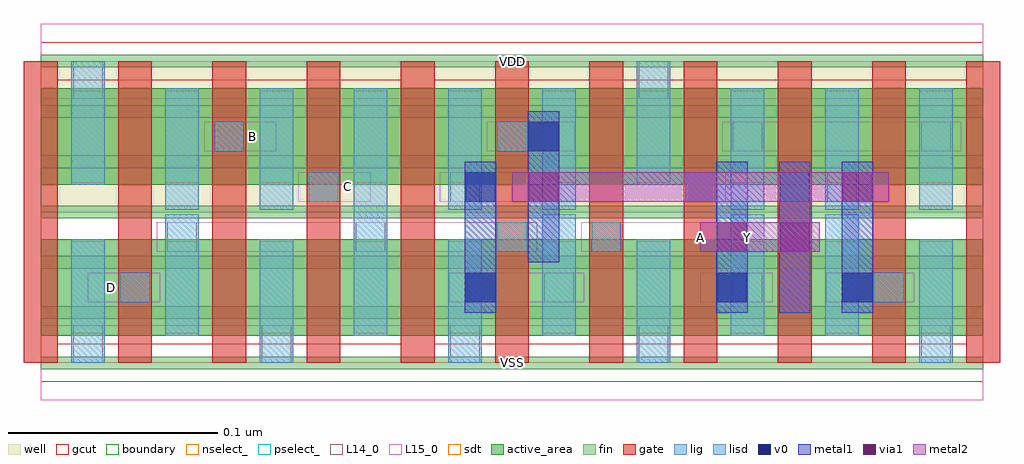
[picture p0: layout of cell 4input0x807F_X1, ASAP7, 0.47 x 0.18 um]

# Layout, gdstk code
import gdstk
lib = gdstk.Library(unit=1e-6, precision=2.5e-10)
def R(c, l, rs):  # rectangles x0, y0, x1, y1
    for r in rs: c.add(gdstk.rectangle(r[:2], r[2:], *l))
def A(c, l, x, y, w, h, nx, ny, dx, dy):  # array of equal rectangles
    R(c, l, [(x+i*dx, y+j*dy, x+i*dx+w, y+j*dy+h) for i in range(nx) for j in range(ny)])
def P(c, l, *ps):  # polygons
    for p in ps: c.add(gdstk.Polygon(p, *l))
well = (1, 0)
fin = (2, 0)
gate = (7, 0)
gcut = (10, 0)
active_area = (11, 0)
nselect_ = (12, 0)
pselect_ = (13, 0)
L14_0 = (14, 0)
L15_0 = (15, 0)
lig = (16, 0)
lisd = (17, 0)
v0 = (18, 0)
metal1 = (19, 0)
metal2 = (20, 0)
via1 = (21, 0)
sdt = (88, 0)
boundary = (100, 0)

c_4input0x807f_x1 = lib.new_cell('4input0x807F_X1')
R(c_4input0x807f_x1, well, [(0,0.072,0.45,0.144)])
A(c_4input0x807f_x1, fin, 0, -0.003, 0.45, 0.006, 1, 7, 0, 0.024)
A(c_4input0x807f_x1, gate, -0.008, 0, 0.016, 0.144, 11, 1, 0.045, 0)
P(c_4input0x807f_x1, gcut, [(0,-0.009),(0,0),(-0.008,0),(-0.008,0.135),(0.008,0.135),(0.008,0.009),(0.172,0.009),(0.172,0.135),(0.188,0.135),(0.188,0.009),(0.442,0.009),(0.442,0.135),(-0.008,0.135),(-0.008,0.144),(0,0.144),(0,0.153),(0.45,0.153),(0.45,0.144),(0.458,0.144),(0.458,0),(0.45,0),(0.45,-0.009)])
R(c_4input0x807f_x1, active_area, [(0,0.013,0.45,0.059), (0,0.085,0.45,0.131)])
R(c_4input0x807f_x1, nselect_, [(0,0,0.45,0.072)])
R(c_4input0x807f_x1, pselect_, [(0,0.072,0.45,0.144)])
A(c_4input0x807f_x1, L14_0, 0.0155, 0, 0.014, 0.018, 4, 1, 0.09, 0)
R(c_4input0x807f_x1, L14_0, [(0.4205,0,0.4345,0.018), (0.038,0.029,0.052,0.043), (0.2405,0.029,0.2545,0.043), (0.3305,0.029,0.3445,0.043), (0.398,0.029,0.412,0.043), (0.0605,0.053,0.0745,0.067), (0.1505,0.053,0.1645,0.067), (0.218,0.053,0.232,0.067), (0.263,0.053,0.277,0.067), (0.353,0.053,0.367,0.067), (0.128,0.077,0.142,0.091), (0.1955,0.077,0.2095,0.091), (0.308,0.077,0.322,0.091), (0.3755,0.077,0.3895,0.091), (0.083,0.101,0.097,0.115), (0.218,0.101,0.232,0.115), (0.3305,0.101,0.3445,0.115), (0.4205,0.101,0.4345,0.115), (0.0155,0.126,0.0295,0.144), (0.2855,0.126,0.2995,0.144)])
R(c_4input0x807f_x1, L15_0, [(0,-0.018,0.45,0.018), (0.0225,0.029,0.057,0.043), (0.195,0.029,0.2595,0.043), (0.315,0.029,0.3495,0.043), (0.375,0.029,0.417,0.043), (0.0555,0.053,0.237,0.067), (0.258,0.053,0.372,0.067), (0.123,0.077,0.1575,0.091), (0.1905,0.077,0.327,0.091), (0.345,0.077,0.3945,0.091), (0.078,0.101,0.1125,0.115), (0.213,0.101,0.255,0.115), (0.3255,0.101,0.4395,0.115), (0,0.126,0.45,0.162)])
R(c_4input0x807f_x1, lig, [(0.038,0.029,0.052,0.043), (0.398,0.029,0.412,0.043), (0.218,0.053,0.232,0.067), (0.263,0.053,0.277,0.067), (0.353,0.053,0.367,0.067), (0.128,0.077,0.142,0.091), (0.308,0.077,0.322,0.091), (0.083,0.101,0.097,0.115), (0.218,0.101,0.232,0.115)])
A(c_4input0x807f_x1, lisd, 0.0145, 0, 0.016, 0.059, 4, 1, 0.09, 0)
A(c_4input0x807f_x1, lisd, 0.3295, 0.073, 0.016, 0.058, 3, 1, 0.045, 0)
R(c_4input0x807f_x1, lisd, [(0.4195,0,0.4355,0.059), (0.0595,0.013,0.0755,0.071), (0.1495,0.013,0.1655,0.131), (0.2395,0.013,0.2555,0.071), (0.3295,0.013,0.3455,0.071), (0.3745,0.013,0.3905,0.071), (0.0595,0.073,0.0755,0.131), (0.1045,0.073,0.1205,0.131), (0.1945,0.073,0.2105,0.131), (0.2395,0.073,0.2555,0.131), (0.0145,0.085,0.0305,0.144), (0.2845,0.085,0.3005,0.144)])
R(c_4input0x807f_x1, v0, [(0.203,0.029,0.217,0.043), (0.323,0.029,0.337,0.043), (0.383,0.029,0.397,0.043), (0.203,0.077,0.217,0.091), (0.353,0.077,0.367,0.091), (0.233,0.101,0.247,0.115)])
A(c_4input0x807f_x1, metal1, 0.3225, 0.024, 0.015, 0.072, 3, 1, 0.03, 0)
R(c_4input0x807f_x1, metal1, [(0.2025,0.024,0.2175,0.096), (0.2325,0.048,0.2475,0.12)])
R(c_4input0x807f_x1, metal2, [(0.315,0.053,0.372,0.067), (0.225,0.077,0.405,0.091)])
R(c_4input0x807f_x1, via1, [(0.323,0.053,0.337,0.067), (0.353,0.053,0.367,0.067), (0.233,0.077,0.247,0.091), (0.383,0.077,0.397,0.091)])
A(c_4input0x807f_x1, sdt, 0.0145, 0.014, 0.016, 0.044, 10, 2, 0.045, 0.072)
R(c_4input0x807f_x1, boundary, [(0,0,0.45,0.144)])
c_4input0x807f_x1.add(gdstk.Label('B', (0.1013,0.108), layer=15, texttype=251))
c_4input0x807f_x1.add(gdstk.Label('VSS', (0.225,0), layer=15, texttype=251))
c_4input0x807f_x1.add(gdstk.Label('VDD', (0.225,0.144), layer=15, texttype=251))
c_4input0x807f_x1.add(gdstk.Label('A', (0.315,0.06), layer=15, texttype=251))
c_4input0x807f_x1.add(gdstk.Label('VSS', (0.225,0), layer=15, texttype=251))
c_4input0x807f_x1.add(gdstk.Label('VDD', (0.225,0.144), layer=15, texttype=251))
c_4input0x807f_x1.add(gdstk.Label('VSS', (0.225,0), layer=15, texttype=251))
c_4input0x807f_x1.add(gdstk.Label('VDD', (0.225,0.144), layer=15, texttype=251))
c_4input0x807f_x1.add(gdstk.Label('D', (0.0338,0.036), layer=15, texttype=251))
c_4input0x807f_x1.add(gdstk.Label('VSS', (0.225,0), layer=15, texttype=251))
c_4input0x807f_x1.add(gdstk.Label('VDD', (0.225,0.144), layer=15, texttype=251))
c_4input0x807f_x1.add(gdstk.Label('C', (0.1462,0.084), layer=15, texttype=251))
c_4input0x807f_x1.add(gdstk.Label('VSS', (0.225,0), layer=15, texttype=251))
c_4input0x807f_x1.add(gdstk.Label('VDD', (0.225,0.144), layer=15, texttype=251))
c_4input0x807f_x1.add(gdstk.Label('VSS', (0.225,0), layer=3, texttype=251))
c_4input0x807f_x1.add(gdstk.Label('VSS', (0.225,0), layer=3, texttype=251))
c_4input0x807f_x1.add(gdstk.Label('VSS', (0.225,0), layer=3, texttype=251))
c_4input0x807f_x1.add(gdstk.Label('VSS', (0.225,0), layer=3, texttype=251))
c_4input0x807f_x1.add(gdstk.Label('VSS', (0.225,0), layer=3, texttype=251))
c_4input0x807f_x1.add(gdstk.Label('VDD', (0.225,0.144), layer=1, texttype=251))
c_4input0x807f_x1.add(gdstk.Label('VDD', (0.225,0.144), layer=1, texttype=251))
c_4input0x807f_x1.add(gdstk.Label('VDD', (0.225,0.144), layer=1, texttype=251))
c_4input0x807f_x1.add(gdstk.Label('VDD', (0.225,0.144), layer=1, texttype=251))
c_4input0x807f_x1.add(gdstk.Label('VDD', (0.225,0.144), layer=1, texttype=251))
c_4input0x807f_x1.add(gdstk.Label('Y', (0.3375,0.06), layer=20, texttype=251))

lib.write_gds('4input0x807F_X1.gds')
